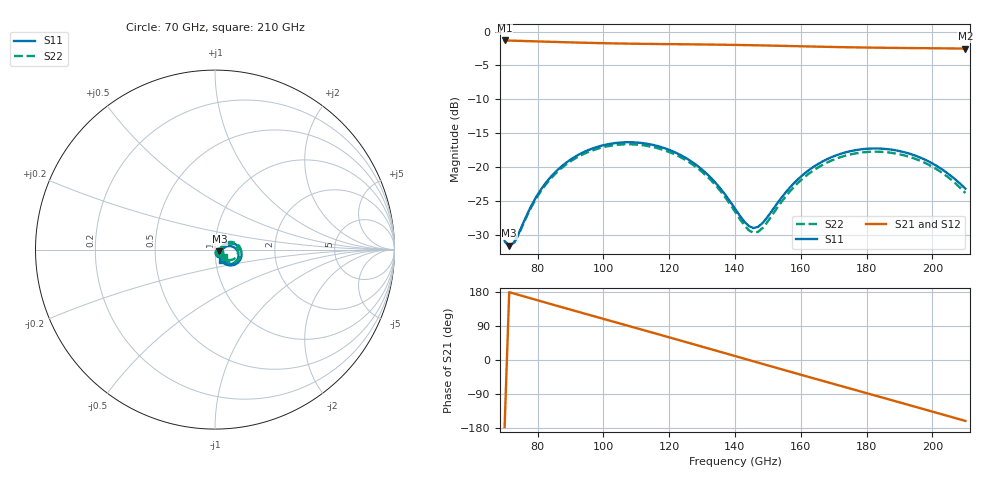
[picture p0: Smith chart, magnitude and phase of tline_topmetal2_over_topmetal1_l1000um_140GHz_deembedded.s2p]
! Created with skrf 2.0.1 (http://scikit-rf.org).
# GHz S DB R 50.0
!freq dBS11 angS11 dBS21 angS21 dBS12 angS12 dBS22 angS22
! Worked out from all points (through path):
!   101 points, 70 GHz to 210 GHz, reference 50 ohm
!   highest |S21| = -1.32 dB at 70 GHz (marker M1); lowest = -2.5 dB at 210 GHz (marker M2)
!   group delay of S21, straight-line fit = 6.81 ps
!   lowest |S11| = -31.7 dB at 71.4 GHz (marker M3), VSWR 1.05, Z = 52.5 - j1.01 ohm
!   |S11| at or under -10 dB: start of sweep to end of sweep
!   |S22| runs from -31.7 to -16.7 dB; largest |S21 - S12| = 1.4e-13
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70  -30.95 -38.8  -1.32 -177.5  -1.32 -177.5  -31.02 -34.0
71.4  -31.66 -21.6  -1.34 179.0  -1.34 179.0  -31.72 -17.0
72.8  -31.22 -3.8  -1.36 175.5  -1.36 175.5  -31.30 0.5
78.4  -25.49 25.8  -1.44 161.6  -1.44 161.6  -25.69 30.5
82.6  -22.31 25.9  -1.50 151.2  -1.50 151.2  -22.54 31.0
88.2  -19.57 19.1  -1.58 137.4  -1.58 137.4  -19.83 24.7
93.8  -17.87 9.6  -1.65 123.7  -1.65 123.7  -18.15 15.7
100.8  -16.71 -3.6  -1.73 106.6  -1.73 106.6  -17.00 3.1
106.4  -16.37 -14.5  -1.78 93.0  -1.78 93.0  -16.67 -7.4
117.6  -17.08 -35.9  -1.85 65.7  -1.85 65.7  -17.40 -28.1
130.2  -20.49 -55.5  -1.91 34.7  -1.91 34.7  -20.83 -47.1
140  -26.17 -52.9  -1.98 10.5  -1.98 10.5  -26.61 -44.6
144.2  -28.75 -32.9  -2.02 0.1  -2.02 0.1  -29.37 -24.4
147  -28.87 -12.6  -2.04 -6.9  -2.04 -6.9  -29.61 -3.1
155.4  -23.77 14.8  -2.13 -27.6  -2.13 -27.6  -24.37 26.4
163.8  -20.02 9.5  -2.22 -48.1  -2.22 -48.1  -20.53 21.6
170.8  -18.29 -0.8  -2.29 -65.2  -2.29 -65.2  -18.78 11.7
176.4  -17.55 -10.2  -2.34 -78.8  -2.34 -78.8  -18.03 2.5
187.6  -17.46 -29.7  -2.42 -106.0  -2.42 -106.0  -17.93 -16.6
193.2  -18.08 -38.8  -2.44 -119.6  -2.44 -119.6  -18.55 -25.8
200.2  -19.55 -48.7  -2.47 -136.7  -2.47 -136.7  -20.04 -35.9
210  -23.22 -53.7  -2.52 -160.8  -2.52 -160.8  -23.87 -42.2
